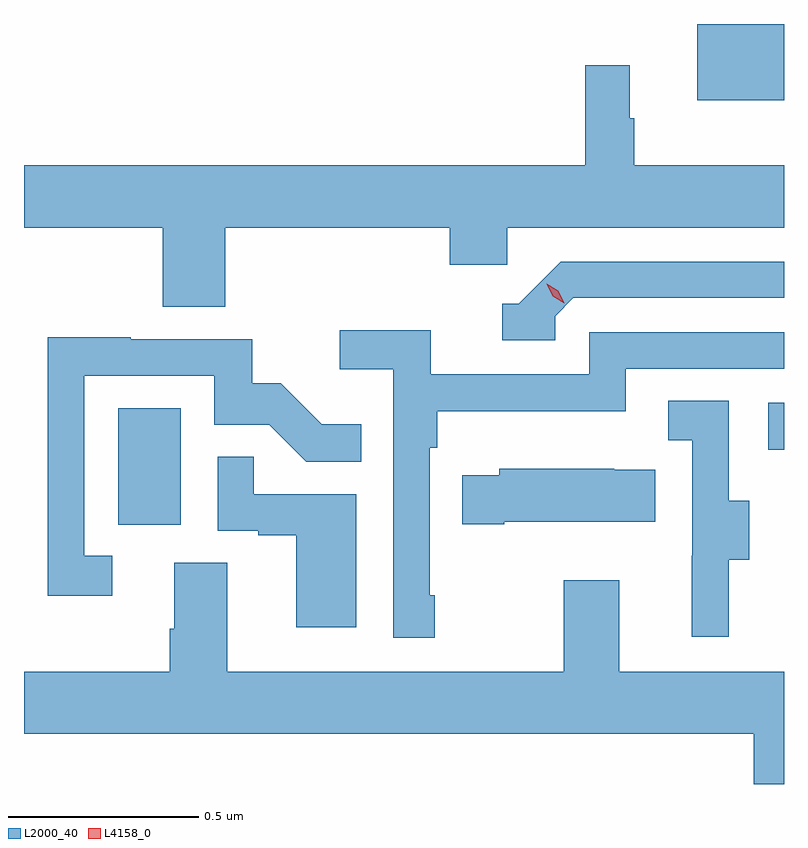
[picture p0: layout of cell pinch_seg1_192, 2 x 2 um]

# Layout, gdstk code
import gdstk
lib = gdstk.Library(unit=1e-6, precision=1e-09)
def R(c, l, rs):  # rectangles x0, y0, x1, y1
    for r in rs: c.add(gdstk.rectangle(r[:2], r[2:], *l))
def P(c, l, *ps):  # polygons
    for p in ps: c.add(gdstk.Polygon(p, *l))
L2000_40 = (2000, 40)
L4158_0 = (4158, 0)

pinch_seg1_192 = lib.new_cell('pinch_seg1_192')
R(pinch_seg1_192, L2000_40, [(1128.578,542.958,1128.742,543.265), (1130.289,543.155,1130.33,543.279), (1130.102,544.076,1130.33,544.276)])
P(pinch_seg1_192, L2000_40, [(1128.86,543.74),(1129.451,543.74),(1129.451,543.642),(1129.602,543.642),(1129.602,543.74),(1130.33,543.74),(1130.33,543.904),(1129.936,543.904),(1129.936,544.028),(1129.924,544.028),(1129.924,544.168),(1129.807,544.168),(1129.807,543.904),(1128.33,543.904),(1128.33,543.74),(1128.695,543.74),(1128.695,543.532),(1128.86,543.532)],
  [(1129.728,543.507),(1129.776,543.555),(1130.33,543.555),(1130.33,543.651),(1129.743,543.651),(1129.632,543.54),(1129.589,543.54),(1129.589,543.444),(1129.728,543.444)],
  [(1129.411,542.773),(1129.398,542.773),(1129.398,543.161),(1129.418,543.161),(1129.418,543.257),(1129.914,543.257),(1129.914,543.369),(1130.33,543.369),(1130.33,543.465),(1129.818,543.465),(1129.818,543.354),(1129.4,543.354),(1129.4,543.47),(1129.161,543.47),(1129.161,543.368),(1129.302,543.368),(1129.302,542.661),(1129.411,542.661)],
  [(1128.562,542.877),(1128.489,542.877),(1128.489,543.351),(1128.831,543.351),(1128.831,543.222),(1128.975,543.222),(1129.073,543.124),(1129.217,543.124),(1129.217,543.223),(1129.113,543.223),(1129.006,543.33),(1128.93,543.33),(1128.93,543.447),(1128.611,543.447),(1128.611,543.452),(1128.393,543.452),(1128.393,542.772),(1128.562,542.772)],
  [(1130.185,542.866),(1130.239,542.866),(1130.239,543.021),(1130.184,543.021),(1130.184,543.284),(1130.025,543.284),(1130.025,543.181),(1130.088,543.181),(1130.088,542.877),(1130.087,542.877),(1130.087,542.664),(1130.185,542.664)],
  [(1129.204,543.039),(1128.935,543.039),(1128.935,543.137),(1128.84,543.137),(1128.84,542.943),(1128.947,542.943),(1128.947,542.931),(1129.046,542.931),(1129.046,542.688),(1129.204,542.688)],
  [(1129.594,542.966),(1129.991,542.966),(1129.991,543.103),(1129.883,543.103),(1129.883,543.106),(1129.581,543.106),(1129.581,543.088),(1129.483,543.088),(1129.483,542.959),(1129.594,542.959)],
  [(1130.33,542.572),(1129.897,542.572),(1129.897,542.812),(1129.75,542.812),(1129.75,542.572),(1128.865,542.572),(1128.865,542.858),(1128.725,542.858),(1128.725,542.684),(1128.713,542.684),(1128.713,542.572),(1128.33,542.572),(1128.33,542.408),(1130.251,542.408),(1130.251,542.276),(1130.33,542.276)])
P(pinch_seg1_192, L4158_0, [(1129.752,543.541),(1129.721,543.56),(1129.705,543.593),(1129.705,543.593),(1129.705,543.593),(1129.736,543.574),(1129.752,543.541),(1129.752,543.541)])

lib.write_gds('pinch_seg1_192.gds')
